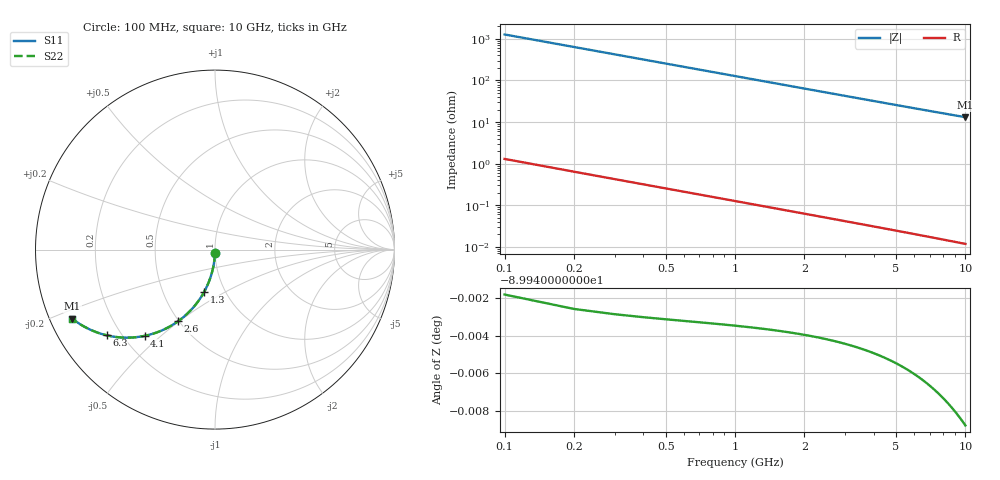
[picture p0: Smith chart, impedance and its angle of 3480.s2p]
# Hz S RI R 50.00
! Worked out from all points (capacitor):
!   100 points, 100 MHz to 10 GHz, reference 50 ohm
!   read as one part in shunt: C = 1.25 pF near 100 MHz
!   lowest |Z| = 13.1 ohm at 10 GHz (marker M1)
!   S11 on the Smith chart (normalised r, x): 100 MHz: 1.00, -0.04; 1.3 GHz: 0.80, -0.40; 2.6 GHz: 0.49, -0.49; 4.1 GHz: 0.28, -0.44; 6.3 GHz: 0.15, -0.34; 10 GHz: 0.07, -0.23
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1e8  -0.000354 -0.0194  0.9995 -0.0197  0.9995 -0.0197  -0.000354 -0.0194
2e8  -0.00152 -0.0387  0.9984 -0.0394  0.9984 -0.0394  -0.00152 -0.0387
3e8  -0.00344 -0.0579  0.9965 -0.059  0.9965 -0.059  -0.00344 -0.0579
4e8  -0.00611 -0.0771  0.9938 -0.0784  0.9938 -0.0784  -0.00611 -0.0771
5e8  -0.00952 -0.096  0.9904 -0.0977  0.9904 -0.0977  -0.00952 -0.096
6e8  -0.0136 -0.1147  0.9863 -0.1168  0.9863 -0.1168  -0.0136 -0.1147
7e8  -0.0185 -0.1331  0.9814 -0.1356  0.9814 -0.1356  -0.0185 -0.1331
8e8  -0.024 -0.1513  0.9759 -0.1541  0.9759 -0.1541  -0.024 -0.1513
1e9  -0.037 -0.1866  0.9629 -0.1901  0.9629 -0.1901  -0.037 -0.1866
1.3e9  -0.0609 -0.2365  0.939 -0.241  0.939 -0.241  -0.0609 -0.2365
1.5e9  -0.0794 -0.2674  0.9204 -0.2726  0.9204 -0.2726  -0.0794 -0.2674
1.8e9  -0.1105 -0.31  0.8894 -0.3162  0.8894 -0.3162  -0.1105 -0.31
2.2e9  -0.1565 -0.359  0.8434 -0.3667  0.8434 -0.3667  -0.1565 -0.359
2.6e9  -0.2058 -0.3993  0.794 -0.4084  0.794 -0.4084  -0.2058 -0.3993
3.4e9  -0.3071 -0.4549  0.6927 -0.4668  0.6927 -0.4668  -0.3071 -0.4549
4.1e9  -0.3921 -0.4805  0.6077 -0.495  0.6077 -0.495  -0.3921 -0.4805
5.1e9  -0.4997 -0.4905  0.5 -0.5085  0.5 -0.5085  -0.4997 -0.4905
6.3e9  -0.6043 -0.4772  0.3953 -0.4997  0.3953 -0.4997  -0.6043 -0.4772
6.7e9  -0.6335 -0.4693  0.3661 -0.4932  0.3661 -0.4932  -0.6335 -0.4693
7.5e9  -0.6845 -0.4506  0.315 -0.4775  0.315 -0.4775  -0.6845 -0.4506
8.4e9  -0.7318 -0.4272  0.2677 -0.4575  0.2677 -0.4575  -0.7318 -0.4272
1e10  -0.7952 -0.3845  0.204 -0.4209  0.204 -0.4209  -0.7952 -0.3845
